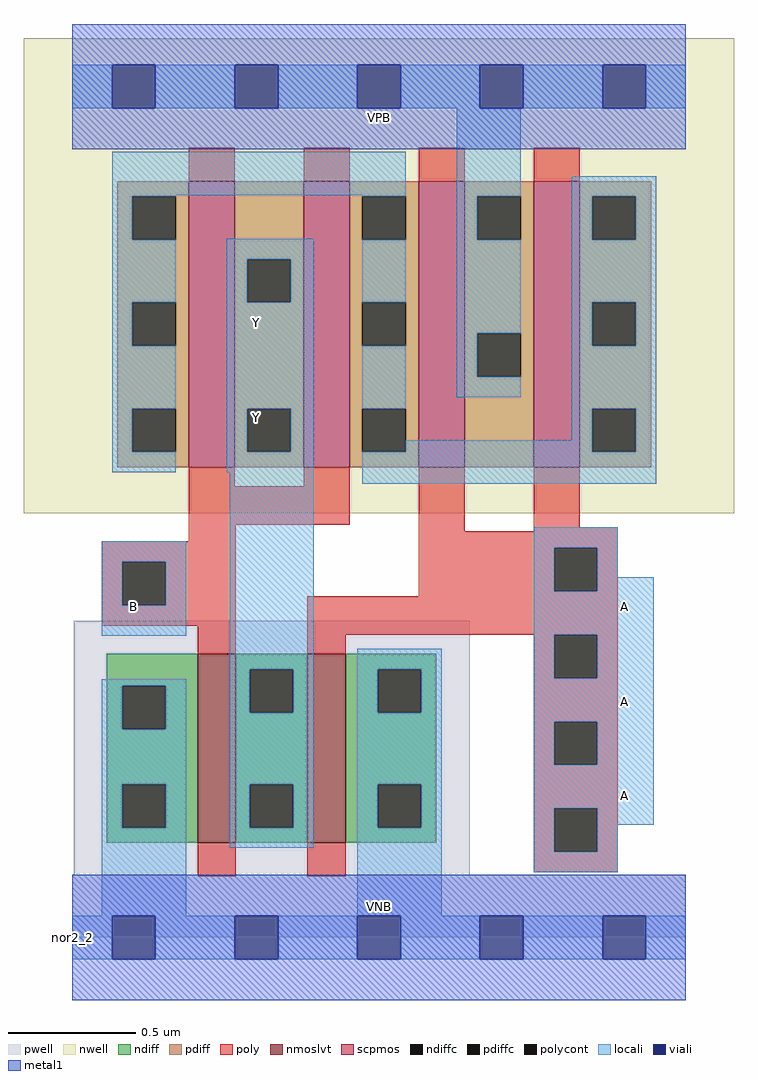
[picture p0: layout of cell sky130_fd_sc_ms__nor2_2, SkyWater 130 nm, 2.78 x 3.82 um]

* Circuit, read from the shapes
.subckt sky130_fd_sc_ms__nor2_2 A B VGND VNB VPB VPWR Y
XM1 Y B VGND VNB sky130_fd_pr__nfet_01v8_lvt w=0.74 l=0.15
XM2 VGND A Y VNB sky130_fd_pr__nfet_01v8_lvt w=0.74 l=0.15
XM3 Y B n1 VPB sky130_fd_pr__pfet_01v8 w=1.12 l=0.18 m=2
XM4 VPWR A n1 VPB sky130_fd_pr__pfet_01v8 w=1.12 l=0.18 m=2
.ends

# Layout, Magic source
magic
tech sky130A
magscale 1 2
<< nwell >>
rect -38 332 518 704
<< pwell >>
rect 1 49 311 248
rect 0 0 480 49
<< scpmos >>
rect 91 368 127 592
rect 181 368 217 592
rect 271 368 307 592
rect 361 368 397 592
<< nmoslvt >>
rect 98 74 128 222
rect 184 74 214 222
<< ndiff >>
rect 27 197 98 222
rect 27 163 39 197
rect 73 163 98 197
rect 27 120 98 163
rect 27 86 39 120
rect 73 86 98 120
rect 27 74 98 86
rect 128 210 184 222
rect 128 176 139 210
rect 173 176 184 210
rect 128 120 184 176
rect 128 86 139 120
rect 173 86 184 120
rect 128 74 184 86
rect 214 210 285 222
rect 214 176 239 210
rect 273 176 285 210
rect 214 120 285 176
rect 214 86 239 120
rect 273 86 285 120
rect 214 74 285 86
<< pdiff >>
rect 35 580 91 592
rect 35 546 47 580
rect 81 546 91 580
rect 35 497 91 546
rect 35 463 47 497
rect 81 463 91 497
rect 35 414 91 463
rect 35 380 47 414
rect 81 380 91 414
rect 35 368 91 380
rect 127 531 181 592
rect 127 497 137 531
rect 171 497 181 531
rect 127 414 181 497
rect 127 380 137 414
rect 171 380 181 414
rect 127 368 181 380
rect 217 580 271 592
rect 217 546 227 580
rect 261 546 271 580
rect 217 497 271 546
rect 217 463 227 497
rect 261 463 271 497
rect 217 414 271 463
rect 217 380 227 414
rect 261 380 271 414
rect 217 368 271 380
rect 307 580 361 592
rect 307 546 317 580
rect 351 546 361 580
rect 307 473 361 546
rect 307 439 317 473
rect 351 439 361 473
rect 307 368 361 439
rect 397 580 453 592
rect 397 546 407 580
rect 441 546 453 580
rect 397 497 453 546
rect 397 463 407 497
rect 441 463 453 497
rect 397 414 453 463
rect 397 380 407 414
rect 441 380 453 414
rect 397 368 453 380
<< ndiffc >>
rect 39 163 73 197
rect 39 86 73 120
rect 139 176 173 210
rect 139 86 173 120
rect 239 176 273 210
rect 239 86 273 120
<< pdiffc >>
rect 47 546 81 580
rect 47 463 81 497
rect 47 380 81 414
rect 137 497 171 531
rect 137 380 171 414
rect 227 546 261 580
rect 227 463 261 497
rect 227 380 261 414
rect 317 546 351 580
rect 317 439 351 473
rect 407 546 441 580
rect 407 463 441 497
rect 407 380 441 414
<< poly >>
rect 91 592 127 618
rect 181 592 217 618
rect 271 592 307 618
rect 361 592 397 618
rect 91 353 127 368
rect 181 353 217 368
rect 91 323 217 353
rect 91 310 128 323
rect 23 294 128 310
rect 23 260 39 294
rect 73 260 128 294
rect 271 318 307 368
rect 361 321 397 368
rect 361 318 427 321
rect 271 305 427 318
rect 271 271 377 305
rect 411 271 427 305
rect 271 267 427 271
rect 23 244 128 260
rect 98 222 128 244
rect 184 237 427 267
rect 184 222 214 237
rect 361 203 377 237
rect 411 203 427 237
rect 361 169 427 203
rect 361 135 377 169
rect 411 135 427 169
rect 361 101 427 135
rect 98 48 128 74
rect 184 48 214 74
rect 361 67 377 101
rect 411 67 427 101
rect 361 51 427 67
<< polycont >>
rect 39 260 73 294
rect 377 271 411 305
rect 377 203 411 237
rect 377 135 411 169
rect 377 67 411 101
<< locali >>
rect 0 649 31 683
rect 65 649 127 683
rect 161 649 223 683
rect 257 649 319 683
rect 353 649 415 683
rect 449 649 480 683
rect 31 581 261 615
rect 31 580 81 581
rect 31 546 47 580
rect 227 580 261 581
rect 31 497 81 546
rect 31 463 47 497
rect 31 414 81 463
rect 31 380 47 414
rect 31 364 81 380
rect 121 531 189 547
rect 121 497 137 531
rect 171 497 189 531
rect 121 414 189 497
rect 121 380 137 414
rect 171 380 189 414
rect 121 364 189 380
rect 23 294 89 310
rect 23 260 39 294
rect 73 260 89 294
rect 23 236 89 260
rect 123 210 189 364
rect 227 497 261 546
rect 227 414 261 463
rect 301 580 351 649
rect 301 546 317 580
rect 301 473 351 546
rect 301 439 317 473
rect 301 423 351 439
rect 391 580 457 596
rect 391 546 407 580
rect 441 546 457 580
rect 391 497 457 546
rect 391 463 407 497
rect 441 463 457 497
rect 391 414 457 463
rect 391 389 407 414
rect 261 380 407 389
rect 441 380 457 414
rect 227 355 457 380
rect 361 305 427 321
rect 361 271 377 305
rect 411 282 427 305
rect 411 271 455 282
rect 361 237 455 271
rect 23 197 89 202
rect 23 163 39 197
rect 73 163 89 197
rect 23 120 89 163
rect 23 86 39 120
rect 73 86 89 120
rect 23 17 89 86
rect 123 176 139 210
rect 173 176 189 210
rect 123 120 189 176
rect 123 86 139 120
rect 173 86 189 120
rect 123 70 189 86
rect 223 210 289 226
rect 223 176 239 210
rect 273 176 289 210
rect 223 120 289 176
rect 223 86 239 120
rect 273 86 289 120
rect 223 17 289 86
rect 361 203 377 237
rect 411 203 455 237
rect 361 169 455 203
rect 361 135 377 169
rect 411 135 455 169
rect 361 101 455 135
rect 361 67 377 101
rect 411 88 455 101
rect 411 67 427 88
rect 361 51 427 67
rect 0 -17 31 17
rect 65 -17 127 17
rect 161 -17 223 17
rect 257 -17 319 17
rect 353 -17 415 17
rect 449 -17 480 17
<< viali >>
rect 31 649 65 683
rect 127 649 161 683
rect 223 649 257 683
rect 319 649 353 683
rect 415 649 449 683
rect 31 -17 65 17
rect 127 -17 161 17
rect 223 -17 257 17
rect 319 -17 353 17
rect 415 -17 449 17
<< metal1 >>
rect 0 683 480 715
rect 0 649 31 683
rect 65 649 127 683
rect 161 649 223 683
rect 257 649 319 683
rect 353 649 415 683
rect 449 649 480 683
rect 0 617 480 649
rect 0 17 480 49
rect 0 -17 31 17
rect 65 -17 127 17
rect 161 -17 223 17
rect 257 -17 319 17
rect 353 -17 415 17
rect 449 -17 480 17
rect 0 -49 480 -17
<< labels >>
flabel pwell s 0 0 480 49 0 FreeSans 200 0 0 0 VNB
port 4 nsew ground bidirectional
flabel nwell s 0 617 480 666 0 FreeSans 200 0 0 0 VPB
port 5 nsew power bidirectional
rlabel comment s 0 0 0 0 4 nor2_2
flabel metal1 s 0 617 480 666 0 FreeSans 340 0 0 0 VPWR
port 6 nsew power bidirectional
flabel metal1 s 0 0 480 49 0 FreeSans 340 0 0 0 VGND
port 3 nsew ground bidirectional
flabel locali s 31 242 65 276 0 FreeSans 340 0 0 0 B
port 2 nsew signal input
flabel locali s 127 390 161 424 0 FreeSans 340 0 0 0 Y
port 7 nsew signal output
flabel locali s 127 464 161 498 0 FreeSans 340 0 0 0 Y
port 7 nsew signal output
flabel locali s 415 94 449 128 0 FreeSans 340 0 0 0 A
port 1 nsew signal input
flabel locali s 415 168 449 202 0 FreeSans 340 0 0 0 A
port 1 nsew signal input
flabel locali s 415 242 449 276 0 FreeSans 340 0 0 0 A
port 1 nsew signal input
<< properties >>
string LEFsite unit
string LEFclass CORE
string FIXED_BBOX 0 0 480 666
string GDS_FILE $PDKPATH/libs.ref/sky130_fd_sc_ms/gds/sky130_fd_sc_ms.gds
string LEFsymmetry X Y
string GDS_END 3212896
string GDS_START 3207744
<< end >>
